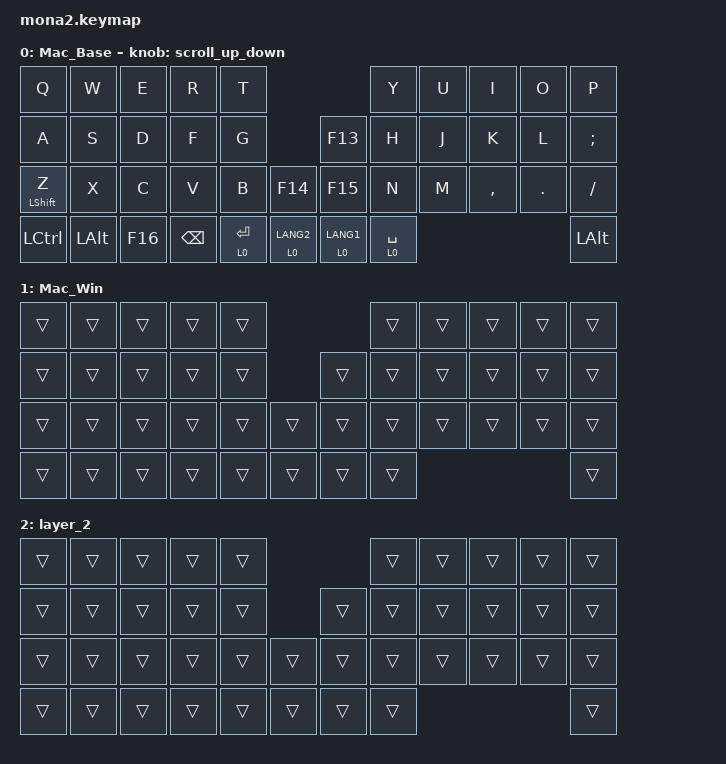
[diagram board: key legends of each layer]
#include <input/processors.dtsi>
#include <dt-bindings/zmk/input_transform.h>
#include <zephyr/dt-bindings/input/input-event-codes.h>
#include <behaviors.dtsi>
#include <dt-bindings/zmk/keys.h>
#include <dt-bindings/zmk/pointing.h>

#define ZMK_POINTING_DEFAULT_SCRL_VAL 100
#define MOUSE 5
#define SCROLL 6

&mt {
    flavor = "balanced";
    quick-tap-ms = <0>;
};

&lt {
    quick-tap-ms = <300>;
    flavor = "balanced";
};

/ {
    combos {
        compatible = "zmk,combos";

        layer4_ESC {
            bindings = <&lt 0 ESC>;
            key-positions = <39 38>;
        };

        tab {
            bindings = <&kp TAB>;
            key-positions = <11 12>;
        };
    };

    macros {
        to_layer_0: to_layer_0 {
            compatible = "zmk,behavior-macro-one-param";
            #binding-cells = <1>;
            bindings = <&to 0 &macro_param_1to1 &kp MACRO_PLACEHOLDER>;
            label = "TO_LAYER_0";
        };
    };

    behaviors {
        lt_to_layer_0: lt_to_layer_0 {
            compatible = "zmk,behavior-hold-tap";
            label = "LAYER_TAP_TO_0";
            bindings = <&mo>, <&to_layer_0>;

            #binding-cells = <2>;
            tapping-term-ms = <200>;
        };

        scroll_up_down: mouse_wheel_up_down {
            compatible = "zmk,behavior-sensor-rotate";
            #sensor-binding-cells = <0>;
            bindings = <&msc SCRL_DOWN>, <&msc SCRL_UP>;

            tap-ms = <20>;
        };

        scroll_right_left: mouse_wheel_right_left {
            compatible = "zmk,behavior-sensor-rotate";
            #sensor-binding-cells = <0>;
            bindings = <&msc SCRL_LEFT>, <&msc SCRL_RIGHT>;

            tap-ms = <20>;
        };
    };

    keymap {
        compatible = "zmk,keymap";

        Mac_Base {
            bindings = <
&kp Q             &kp W         &kp E    &kp R          &kp T                                                          &kp Y        &kp U  &kp I      &kp O    &kp P
&kp A             &kp S         &kp D    &kp F          &kp G                                  &kp F13                 &kp H        &kp J  &kp K      &kp L    &kp SEMICOLON
&mt LEFT_SHIFT Z  &kp X         &kp C    &kp V          &kp B        &kp F14                   &kp F15                 &kp N        &kp M  &kp COMMA  &kp DOT  &kp SLASH
&kp LCTRL         &kp LEFT_ALT  &kp F16  &kp BACKSPACE  &lt 0 ENTER  &lt_to_layer_0 0 LANG2    &lt_to_layer_0 0 LANG1  &lt 0 SPACE                             &kp LEFT_ALT
            >;

            sensor-bindings = <&scroll_up_down>;
        };

        Mac_Win {
            bindings = <
&trans  &trans  &trans  &trans  &trans                    &trans  &trans  &trans  &trans  &trans
&trans  &trans  &trans  &trans  &trans            &trans  &trans  &trans  &trans  &trans  &trans
&trans  &trans  &trans  &trans  &trans  &trans    &trans  &trans  &trans  &trans  &trans  &trans
&trans  &trans  &trans  &trans  &trans  &trans    &trans  &trans                          &trans
            >;
        };

        layer_2 {
            bindings = <
&trans  &trans  &trans  &trans  &trans                    &trans  &trans  &trans  &trans  &trans
&trans  &trans  &trans  &trans  &trans            &trans  &trans  &trans  &trans  &trans  &trans
&trans  &trans  &trans  &trans  &trans  &trans    &trans  &trans  &trans  &trans  &trans  &trans
&trans  &trans  &trans  &trans  &trans  &trans    &trans  &trans                          &trans
            >;
        };
    };
};
